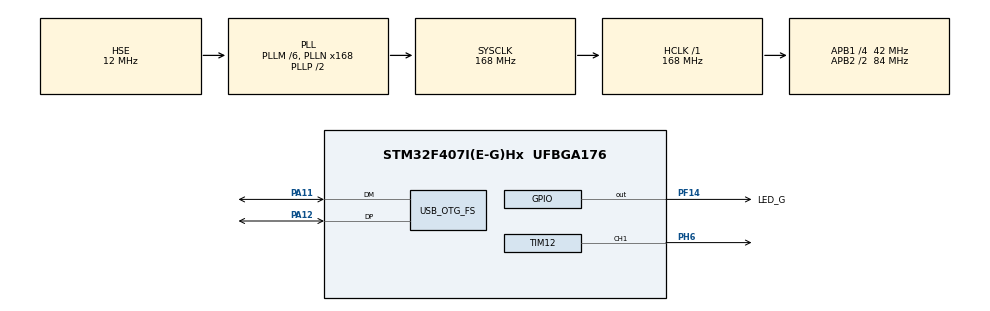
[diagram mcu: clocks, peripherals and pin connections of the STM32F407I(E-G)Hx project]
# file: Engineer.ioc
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FREERTOS.Tasks01=defaultTask,24,128,StartDefaultTask,Default,NULL,Dynamic,NULL,NULL;LED_G_Blink,8,128,LED_G_Blink_Entry,Default,NULL,Dynamic,NULL,NULL
Mcu.Family=STM32F4
Mcu.Name=STM32F407I(E-G)Hx
Mcu.Package=UFBGA176
NVIC.OTG_FS_IRQn=true\:5\:0\:false\:false\:true\:true\:true\:true
NVIC.PriorityGroup=NVIC_PRIORITYGROUP_4
PA11.Mode=Device_Only
PA11.Signal=USB_OTG_FS_DM
PA12.Mode=Device_Only
PA12.Signal=USB_OTG_FS_DP
PA13.Mode=Serial_Wire
PA13.Signal=SYS_JTMS-SWDIO
PA14.Mode=Serial_Wire
PA14.Signal=SYS_JTCK-SWCLK
PF14.GPIO_Label=LED_G
PF14.GPIO_ModeDefaultOutputPP=GPIO_MODE_OUTPUT_OD
PF14.GPIO_PuPd=GPIO_PULLUP
PF14.PinState=GPIO_PIN_SET
PF14.Signal=GPIO_Output
PH0-OSC_IN.Mode=HSE-External-Oscillator
PH0-OSC_IN.Signal=RCC_OSC_IN
PH1-OSC_OUT.Mode=HSE-External-Oscillator
PH1-OSC_OUT.Signal=RCC_OSC_OUT
PH6.Signal=S_TIM12_CH1
ProjectManager.HeapSize=0x1000
ProjectManager.StackSize=0x400
ProjectManager.TargetToolchain=MDK-ARM V5.27
RCC.48MHZClocksFreq_Value=48000000
RCC.AHBFreq_Value=168000000
RCC.APB1CLKDivider=RCC_HCLK_DIV4
RCC.APB1Freq_Value=42000000
RCC.APB1TimFreq_Value=84000000
RCC.APB2CLKDivider=RCC_HCLK_DIV2
RCC.APB2Freq_Value=84000000
RCC.APB2TimFreq_Value=168000000
RCC.CortexFreq_Value=168000000
RCC.HCLKFreq_Value=168000000
RCC.HSE_VALUE=12000000
RCC.HSI_VALUE=16000000
RCC.LSE_VALUE=32768
RCC.PLLM=6
RCC.PLLN=168
RCC.PLLQ=7
RCC.SYSCLKFreq_VALUE=168000000
RCC.SYSCLKSource=RCC_SYSCLKSOURCE_PLLCLK
RCC.VCOOutputFreq_Value=336000000
SH.S_TIM12_CH1.0=TIM12_CH1,PWM Generation1 CH1
TIM12.Channel-PWM\ Generation1\ CH1=TIM_CHANNEL_1
TIM12.Period=10000
USB_DEVICE.CLASS_NAME_FS=CDC
USB_DEVICE.VirtualMode-CDC_FS=Cdc
USB_DEVICE.VirtualModeFS=Cdc_FS
USB_OTG_FS.VirtualMode=Device_Only
VP_FREERTOS_VS_CMSIS_V2.Mode=CMSIS_V2
VP_TIM12_VS_ClockSourceINT.Mode=Internal
VP_USB_DEVICE_VS_USB_DEVICE_CDC_FS.Mode=CDC_FS
board=custom

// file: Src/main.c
/* USER CODE BEGIN Header */
/**
  ******************************************************************************
  * @file           : main.c
  * @brief          : Main program body
  ******************************************************************************
  * @attention
  *
  * <h2><center>&copy; Copyright (c) 2020 STMicroelectronics.
  * All rights reserved.</center></h2>
  *
  * This software component is licensed by ST under Ultimate Liberty license
  * SLA0044, the "License"; You may not use this file except in compliance with
  * the License. You may obtain a copy of the License at:
  *                             www.st.com/SLA0044
  *
  ******************************************************************************
  */
/* USER CODE END Header */

#include "main.h"
#include "cmsis_os.h"
#include "tim.h"
#include "usb_device.h"
#include "gpio.h"

/* USER CODE BEGIN Includes */
#include "../BSP/Buzzer/buzzer.h"
/* USER CODE END Includes */

void SystemClock_Config(void);
void MX_FREERTOS_Init(void);

int main(void)
{

  /* MCU Configuration--------------------------------------------------------*/

  /* Reset of all peripherals, Initializes the Flash interface and the Systick. */
  HAL_Init();

  /* Configure the system clock */
  SystemClock_Config();

  /* Initialize all configured peripherals */
  MX_GPIO_Init();
  MX_TIM12_Init();
  /* USER CODE BEGIN 2 */
	HAL_TIM_Base_Start_IT(&htim12);
	HAL_TIM_PWM_Start(&htim12, TIM_CHANNEL_1);
	// family mart tune
	buzzer_on(24, 5000);
	HAL_Delay(250);
	buzzer_on(31, 5000);
	HAL_Delay(250);
	buzzer_on(42, 5000);
	HAL_Delay(250);
	buzzer_on(31, 5000);
	HAL_Delay(250);
	buzzer_on(27, 5000);
	HAL_Delay(250);
	buzzer_on(20, 5000);
	HAL_Delay(500);
	buzzer_on(27, 5000);
	HAL_Delay(250);
	buzzer_on(24, 5000);
	HAL_Delay(250);
	buzzer_on(27, 5000);
	HAL_Delay(250);
	buzzer_on(42, 5000);
	HAL_Delay(250);
	buzzer_on(31, 5000);
	HAL_Delay(1000);
  buzzer_off();
  /* USER CODE END 2 */
  /* Init scheduler */
  osKernelInitialize();

  /* Call init function for freertos objects (in freertos.c) */
  MX_FREERTOS_Init();

  /* Start scheduler */
  osKernelStart();

  /* We should never get here as control is now taken by the scheduler */

  /* Infinite loop */
  while (1)
  {

  }
}

void SystemClock_Config(void)
{
  RCC_OscInitTypeDef RCC_OscInitStruct = {0};
  RCC_ClkInitTypeDef RCC_ClkInitStruct = {0};

  /** Configure the main internal regulator output voltage
  */
  __HAL_RCC_PWR_CLK_ENABLE();
  __HAL_PWR_VOLTAGESCALING_CONFIG(PWR_REGULATOR_VOLTAGE_SCALE1);
  /** Initializes the CPU, AHB and APB busses clocks
  */
  RCC_OscInitStruct.OscillatorType = RCC_OSCILLATORTYPE_HSE;
  RCC_OscInitStruct.HSEState = RCC_HSE_ON;
  RCC_OscInitStruct.PLL.PLLState = RCC_PLL_ON;
  RCC_OscInitStruct.PLL.PLLSource = RCC_PLLSOURCE_HSE;
  RCC_OscInitStruct.PLL.PLLM = 6;
  RCC_OscInitStruct.PLL.PLLN = 168;
  RCC_OscInitStruct.PLL.PLLP = RCC_PLLP_DIV2;
  RCC_OscInitStruct.PLL.PLLQ = 7;
  if (HAL_RCC_OscConfig(&RCC_OscInitStruct) != HAL_OK)
  {
    Error_Handler();
  }
  /** Initializes the CPU, AHB and APB busses clocks
  */
  RCC_ClkInitStruct.ClockType = RCC_CLOCKTYPE_HCLK|RCC_CLOCKTYPE_SYSCLK
                              |RCC_CLOCKTYPE_PCLK1|RCC_CLOCKTYPE_PCLK2;
  RCC_ClkInitStruct.SYSCLKSource = RCC_SYSCLKSOURCE_PLLCLK;
  RCC_ClkInitStruct.AHBCLKDivider = RCC_SYSCLK_DIV1;
  RCC_ClkInitStruct.APB1CLKDivider = RCC_HCLK_DIV4;
  RCC_ClkInitStruct.APB2CLKDivider = RCC_HCLK_DIV2;

  if (HAL_RCC_ClockConfig(&RCC_ClkInitStruct, FLASH_LATENCY_5) != HAL_OK)
  {
    Error_Handler();
  }
}

void Error_Handler(void)
{
}

/************************ (C) COPYRIGHT STMicroelectronics *****END OF FILE****/

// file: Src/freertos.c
/* USER CODE BEGIN Header */
/**
  ******************************************************************************
  * File Name          : freertos.c
  * Description        : Code for freertos applications
  ******************************************************************************
  * @attention
  *
  * <h2><center>&copy; Copyright (c) 2020 STMicroelectronics.
  * All rights reserved.</center></h2>
  *
  * This software component is licensed by ST under Ultimate Liberty license
  * SLA0044, the "License"; You may not use this file except in compliance with
  * the License. You may obtain a copy of the License at:
  *                             www.st.com/SLA0044
  *
  ******************************************************************************
  */
/* USER CODE END Header */

#include "FreeRTOS.h"
#include "task.h"
#include "main.h"
#include "cmsis_os.h"

/* USER CODE BEGIN Includes */
#include "../BSP/Buzzer/buzzer.h"
/* USER CODE END Includes */

/* Definitions for defaultTask */
osThreadId_t defaultTaskHandle;
const osThreadAttr_t defaultTask_attributes = {
  .name = "defaultTask",
  .priority = (osPriority_t) osPriorityNormal,
  .stack_size = 128
};
/* Definitions for LED_G_Blink */
osThreadId_t LED_G_BlinkHandle;
const osThreadAttr_t LED_G_Blink_attributes = {
  .name = "LED_G_Blink",
  .priority = (osPriority_t) osPriorityLow,
  .stack_size = 128
};

void StartDefaultTask(void *argument);
void LED_G_Blink_Entry(void *argument);

extern void MX_USB_DEVICE_Init(void);
void MX_FREERTOS_Init(void); /* (MISRA C 2004 rule 8.1) */

void MX_FREERTOS_Init(void) {

  /* Create the thread(s) */
  /* creation of defaultTask */
  //defaultTaskHandle = osThreadNew(StartDefaultTask, NULL, &defaultTask_attributes);

  /* creation of LED_G_Blink */
  LED_G_BlinkHandle = osThreadNew(LED_G_Blink_Entry, NULL, &LED_G_Blink_attributes);

}

void StartDefaultTask(void *argument)
{
  /* init code for USB_DEVICE */
  MX_USB_DEVICE_Init();
  /* USER CODE BEGIN StartDefaultTask */
  /* Infinite loop */
//  for(;;)
//  {
//    //HAL_GPIO_WritePin(LED_G_GPIO_Port, LED_G_Pin, GPIO_PIN_SET);
//    osDelay(500);
//  }
  /* USER CODE END StartDefaultTask */
}

void LED_G_Blink_Entry(void *argument)
{
  /* USER CODE BEGIN LED_G_Blink_Entry */
  /* Infinite loop */
  for(;;)
  {
		HAL_GPIO_WritePin(LED_G_GPIO_Port, LED_G_Pin, GPIO_PIN_RESET);
    osDelay(500);
		HAL_GPIO_WritePin(LED_G_GPIO_Port, LED_G_Pin, GPIO_PIN_SET);
    osDelay(500);
  }
  /* USER CODE END LED_G_Blink_Entry */
}

/************************ (C) COPYRIGHT STMicroelectronics *****END OF FILE****/
